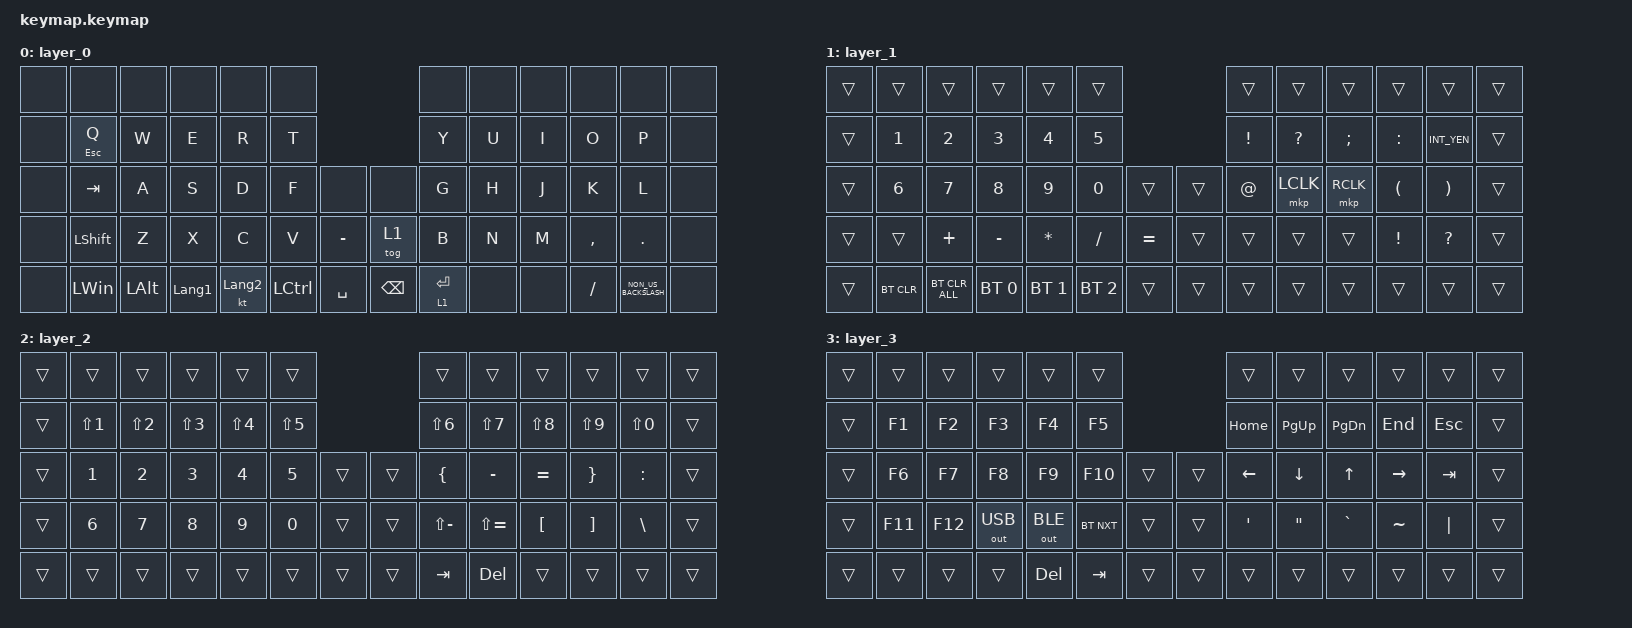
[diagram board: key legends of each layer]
#include <behaviors.dtsi>
#include <dt-bindings/zmk/bt.h>
#include <dt-bindings/zmk/keys.h>
#include <dt-bindings/zmk/outputs.h>
#include <dt-bindings/zmk/pointing.h>

/ {
    combos {
        compatible = "zmk,combos";

        bt_clear {
            bindings = <&bt BT_CLR>;
            key-positions = <28 29>;
            layers = <2>;
        };
    };

    keymap {
        compatible = "zmk,keymap";

        layer_0 {
            bindings = <
&none  &none       &none         &none           &none           &none                                &none        &none  &none  &none      &none                 &none
&none  &mt ESC Q   &kp W         &kp E           &kp R           &kp T                                &kp Y        &kp U  &kp I  &kp O      &kp P                 &none
&none  &kp TAB     &kp A         &kp S           &kp D           &kp F      &none      &none          &kp G        &kp H  &kp J  &kp K      &kp L                 &none
&none  &kp LSHIFT  &kp Z         &kp X           &kp C           &kp V      &kp MINUS  &tog 1         &kp B        &kp N  &kp M  &kp COMMA  &kp PERIOD            &none
&none  &kp LWIN    &kp LEFT_ALT  &kp LANGUAGE_1  &kt LANGUAGE_2  &kp LCTRL  &kp SPACE  &kp BACKSPACE  &lt 1 ENTER  &none  &none  &kp SLASH  &kp NON_US_BACKSLASH  &none
            >;
        };

        layer_1 {
            bindings = <
&trans  &trans      &trans          &trans        &trans        &trans                           &trans           &trans        &trans         &trans                &trans                 &trans
&trans  &kp N1      &kp N2          &kp N3        &kp N4        &kp N5                           &kp EXCLAMATION  &kp QUESTION  &kp SEMICOLON  &kp COLON             &kp INT_YEN            &trans
&trans  &kp N6      &kp N7          &kp N8        &kp N9        &kp N0        &trans     &trans  &kp AT_SIGN      &mkp LCLK     &mkp RCLK      &kp LEFT_PARENTHESIS  &kp RIGHT_PARENTHESIS  &trans
&trans  &trans      &kp PLUS        &kp MINUS     &kp ASTERISK  &kp SLASH     &kp EQUAL  &trans  &trans           &trans        &trans         &kp EXCLAMATION       &kp QUESTION           &trans
&trans  &bt BT_CLR  &bt BT_CLR_ALL  &bt BT_SEL 0  &bt BT_SEL 1  &bt BT_SEL 2  &trans     &trans  &trans           &trans        &trans         &trans                &trans                 &trans
            >;
        };

        layer_2 {
            bindings = <
&trans  &trans            &trans            &trans      &trans      &trans                      &trans          &trans         &trans            &trans             &trans         &trans
&trans  &kp LS(NUMBER_1)  &kp LS(NUMBER_2)  &kp LS(N3)  &kp LS(N4)  &kp LS(N5)                  &kp LS(N6)      &kp LS(N7)     &kp LS(N8)        &kp LS(N9)         &kp LS(N0)     &trans
&trans  &kp N1            &kp N2            &kp N3      &kp N4      &kp N5      &trans  &trans  &kp LEFT_BRACE  &kp MINUS      &kp EQUAL         &kp RIGHT_BRACE    &kp COLON      &trans
&trans  &kp N6            &kp N7            &kp N8      &kp N9      &kp N0      &trans  &trans  &kp LS(MINUS)   &kp LS(EQUAL)  &kp LEFT_BRACKET  &kp RIGHT_BRACKET  &kp BACKSLASH  &trans
&trans  &trans            &trans            &trans      &trans      &trans      &trans  &trans  &kp TAB         &kp DEL        &trans            &trans             &trans         &trans
            >;
        };

        layer_3 {
            bindings = <
&trans  &trans   &trans   &trans        &trans        &trans                      &trans            &trans     &trans         &trans     &trans      &trans
&trans  &kp F1   &kp F2   &kp F3        &kp F4        &kp F5                      &kp HOME          &kp PG_UP  &kp PAGE_DOWN  &kp END    &kp ESCAPE  &trans
&trans  &kp F6   &kp F7   &kp F8        &kp F9        &kp F10     &trans  &trans  &kp LEFT          &kp DOWN   &kp UP_ARROW   &kp RIGHT  &kp TAB     &trans
&trans  &kp F11  &kp F12  &out OUT_USB  &out OUT_BLE  &bt BT_NXT  &trans  &trans  &kp SINGLE_QUOTE  &kp DQT    &kp GRAVE      &kp TILDE  &kp PIPE    &trans
&trans  &trans   &trans   &trans        &kp DELETE    &kp TAB     &trans  &trans  &trans            &trans     &trans         &trans     &trans      &trans
            >;
        };
    };
};
